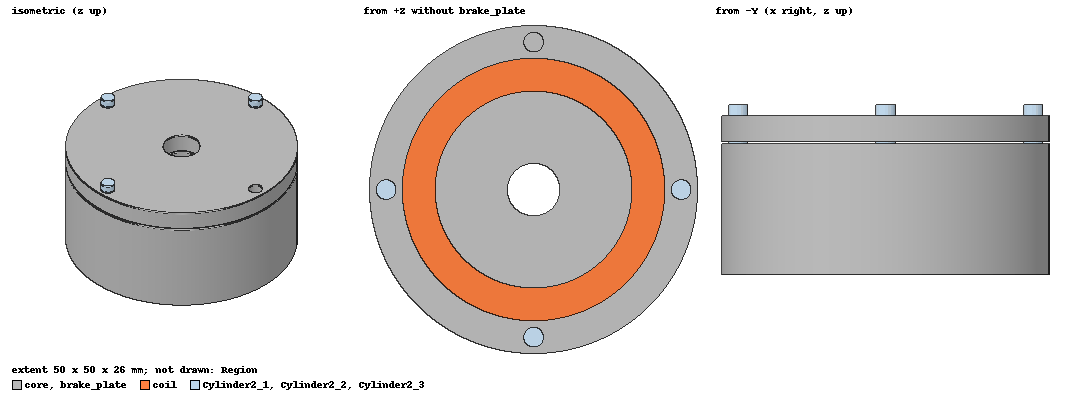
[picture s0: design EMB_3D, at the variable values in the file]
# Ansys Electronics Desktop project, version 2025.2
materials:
  vacuum: permittivity=1
  steel_1008: permeability{HUnit=A_per_meter BUnit=tesla curve (0, 0) (159.2, 0.2402) (318.3, 0.8654) (477.5, 1.1106) (636.6, 1.2458) (795.8, 1.331) (1591.5, 1.5) (3183.1, 1.6) (4774.6, 1.683) (6366.2, 1.741) (7957.7, 1.78) (15915.5, 1.905) (31831, 2.025) (47746.5, 2.085) (63662, 2.13) (79577.5, 2.165) (159155, 2.28) (318310, 2.485) (397887, 2.5851)} conductivity=2000000
  copper: permeability=0.999991 conductivity=58000000

design EMB_3D (Maxwell 3D, AC Magnetic, model units mm)
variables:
  gap = 0.3mm
  Amp = 5A
  Turns = 200
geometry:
  core [steel_1008] = cylinder(axis=Z, base_centre=(0mm, 0mm, 0mm), radius=25mm, height=20mm)
  coil [copper] = circle(normal=Z, centre=(0mm, 0mm, 20mm), radius=20mm)
  Circle2 = circle(normal=Z, centre=(0mm, 0mm, 20mm), radius=15mm)
  coil.subtract(Circle2)
  coil.thicken(-15mm)
  Circle1_1 = coil.copy()
  core.subtract(Circle1_1)
  Cylinder1 = cylinder(axis=Z, base_centre=(0mm, 0mm, 0mm), radius=4mm, height=20mm)
  core.subtract(Cylinder1)
  brake_plate [steel_1008] = object_from(core.face(-z end))
  brake_plate.thicken(4mm)
  brake_plate.move(0mm, 0mm, 24mm+gap)
  Cylinder2 = cylinder(axis=Z, base_centre=(0mm, 22.5mm, 26mm), radius=1.5mm, height=-15mm)
  Cylinder2_1, Cylinder2_2, Cylinder2_3 [vacuum] = Cylinder2.duplicate_around_axis(axis=Z, angle=90deg, total=4)
  Cylinder2.duplicate_around_axis(axis=Z, angle=90deg, total=4, attached)
  Cylinder2_4 = Cylinder2.copy()
  brake_plate.subtract(Cylinder2_4)
  core.subtract(Cylinder2)
  coil_Section1 [copper] = coil.section(plane=ZX)
  coil_Section1.separate_bodies()
  Region [vacuum] = region(percentage_offset=100 on all sides)
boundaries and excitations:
  Insulating1: Insulating Objects=coil
  Current1: Current Objects=coil_Section1 Phase=0deg Current=Amp*Turns IsSolid=false Point_out_of_terminal=false
  eddy effects on: core, brake_plate
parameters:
  Force1: Force Reference_CS=Global Is_Virtual=true Objects=brake_plate
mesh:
  initial mesh: GlobalSurfApproximation{CurvedSurfaceApproxChoice=UseSlider SliderMeshSettings=2} GlobalCurvilinear{Apply}
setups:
  Setup1: AC Magnetic MaximumPasses=3 MinimumPasses=2 MinimumConvergedPasses=1 PercentRefinement=30 PercentError=2 NumberSolveSteps=1 RangeStart=0s RangeEnd=1s NonLinearResidual=0.0001 Frequency=300Hz LossAdaptiveCtrl=0.5
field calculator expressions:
  Loss_Plate = Ohmic-Loss | EnterVolume(brake_plate) | VolumeValue | Integrate
  Loss_Core = Ohmic-Loss | EnterVolume(core) | VolumeValue | Integrate
  Loss_Coil = Ohmic-Loss | EnterVolume(coil) | VolumeValue | Integrate
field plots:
  Ohmic_Loss1: Ohmic-Loss in brake_plate on Setup1 : LastAdaptive at Freq=300Hz Phase=0deg
